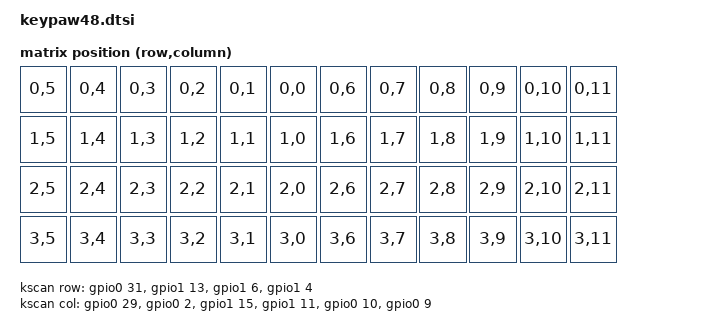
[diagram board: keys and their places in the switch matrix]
#include <dt-bindings/zmk/matrix_transform.h>

#include "kp-peri.dtsi"
#include "kp-leds.dtsi"
#include "kp-rgb.dtsi"

#include "keypaw48-layouts.dtsi"

/ {
    chosen {
        zmk,physical-layout = &default_layout;
        zephyr,display = &oled;
    };

    kscan: kscan {
        compatible = "zmk,kscan-gpio-matrix";
        diode-direction = "col2row";
        wakeup-source;
        col-gpios
        = <&gpio0 29 GPIO_ACTIVE_HIGH>
        , <&gpio0  2 GPIO_ACTIVE_HIGH>
        , <&gpio1 15 GPIO_ACTIVE_HIGH>
        , <&gpio1 11 GPIO_ACTIVE_HIGH>
        , <&gpio0 10 GPIO_ACTIVE_HIGH>
        , <&gpio0  9 GPIO_ACTIVE_HIGH>
        ;

        row-gpios
        = <&gpio0 31 (GPIO_ACTIVE_HIGH | GPIO_PULL_DOWN)>
        , <&gpio1 13 (GPIO_ACTIVE_HIGH | GPIO_PULL_DOWN)>
        , <&gpio1  6 (GPIO_ACTIVE_HIGH | GPIO_PULL_DOWN)>
        , <&gpio1  4 (GPIO_ACTIVE_HIGH | GPIO_PULL_DOWN)>
        ;
    };

    default_transform: default_transform {
        compatible = "zmk,matrix-transform";
        columns = <12>;
        rows = <4>;

        map = <
        RC(0, 5) RC(0, 4) RC(0, 3) RC(0, 2) RC(0, 1) RC(0, 0)    RC(0, 6) RC(0, 7) RC(0, 8) RC(0, 9) RC(0, 10) RC(0, 11)
        RC(1, 5) RC(1, 4) RC(1, 3) RC(1, 2) RC(1, 1) RC(1, 0)    RC(1, 6) RC(1, 7) RC(1, 8) RC(1, 9) RC(1, 10) RC(1, 11)
        RC(2, 5) RC(2, 4) RC(2, 3) RC(2, 2) RC(2, 1) RC(2, 0)    RC(2, 6) RC(2, 7) RC(2, 8) RC(2, 9) RC(2, 10) RC(2, 11)
        RC(3, 5) RC(3, 4) RC(3, 3) RC(3, 2) RC(3, 1) RC(3, 0)    RC(3, 6) RC(3, 7) RC(3, 8) RC(3, 9) RC(3, 10) RC(3, 11)
        >;
    };

    // Node name must match original "EXT_POWER" label to preserve user settings.
    EXT_POWER {
        compatible = "zmk,ext-power-generic";
        control-gpios = <&gpio1 2 GPIO_ACTIVE_HIGH>;
        init-delay-ms = <100>;
    };
};
